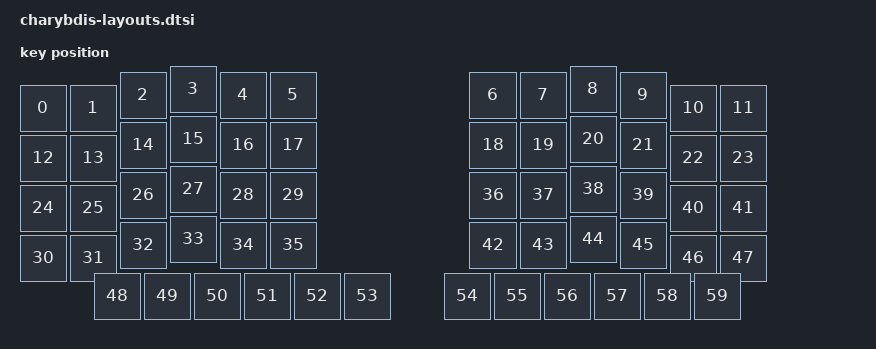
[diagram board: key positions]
#include <physical_layouts.dtsi>

/ {
    charybdis_physical_layout: charybdis_physical_layout {
        compatible = "zmk,physical-layout";
        display-name = "Charybdis 5x6";

        kscan = <&kscan0>;
        transform = <&default_transform>;

        keys
            // Left Half - Main Keys
            //                       w   h    x    y     rot    rx    ry
            = <&key_physical_attrs 100 100    0   38       0     0     0>
            , <&key_physical_attrs 100 100  100   38       0     0     0>
            , <&key_physical_attrs 100 100  200   12       0     0     0>
            , <&key_physical_attrs 100 100  300    0       0     0     0>
            , <&key_physical_attrs 100 100  400   12       0     0     0>
            , <&key_physical_attrs 100 100  500   12       0     0     0>
            , <&key_physical_attrs 100 100  900   12       0     0     0>
            , <&key_physical_attrs 100 100 1000   12       0     0     0>
            , <&key_physical_attrs 100 100 1100    0       0     0     0>
            , <&key_physical_attrs 100 100 1200   12       0     0     0>
            , <&key_physical_attrs 100 100 1300   38       0     0     0>
            , <&key_physical_attrs 100 100 1400   38       0     0     0>
            , <&key_physical_attrs 100 100    0  138       0     0     0>
            , <&key_physical_attrs 100 100  100  138       0     0     0>
            , <&key_physical_attrs 100 100  200  112       0     0     0>
            , <&key_physical_attrs 100 100  300  100       0     0     0>
            , <&key_physical_attrs 100 100  400  112       0     0     0>
            , <&key_physical_attrs 100 100  500  112       0     0     0>
            , <&key_physical_attrs 100 100  900  112       0     0     0>
            , <&key_physical_attrs 100 100 1000  112       0     0     0>
            , <&key_physical_attrs 100 100 1100  100       0     0     0>
            , <&key_physical_attrs 100 100 1200  112       0     0     0>
            , <&key_physical_attrs 100 100 1300  138       0     0     0>
            , <&key_physical_attrs 100 100 1400  138       0     0     0>
            , <&key_physical_attrs 100 100    0  238       0     0     0>
            , <&key_physical_attrs 100 100  100  238       0     0     0>
            , <&key_physical_attrs 100 100  200  212       0     0     0>
            , <&key_physical_attrs 100 100  300  200       0     0     0>
            , <&key_physical_attrs 100 100  400  212       0     0     0>
            , <&key_physical_attrs 100 100  500  212       0     0     0>
            , <&key_physical_attrs 100 100    0  338       0     0     0>
            , <&key_physical_attrs 100 100  100  338       0     0     0>
            , <&key_physical_attrs 100 100  200  312       0     0     0>
            , <&key_physical_attrs 100 100  300  300       0     0     0>
            , <&key_physical_attrs 100 100  400  312       0     0     0>
            , <&key_physical_attrs 100 100  500  312       0     0     0>
            , <&key_physical_attrs 100 100  900  212       0     0     0>
            , <&key_physical_attrs 100 100 1000  212       0     0     0>
            , <&key_physical_attrs 100 100 1100  200       0     0     0>
            , <&key_physical_attrs 100 100 1200  212       0     0     0>
            , <&key_physical_attrs 100 100 1300  238       0     0     0>
            , <&key_physical_attrs 100 100 1400  238       0     0     0>
            , <&key_physical_attrs 100 100  900  312       0     0     0>
            , <&key_physical_attrs 100 100 1000  312       0     0     0>
            , <&key_physical_attrs 100 100 1100  300       0     0     0>
            , <&key_physical_attrs 100 100 1200  312       0     0     0>
            , <&key_physical_attrs 100 100 1300  338       0     0     0>
            , <&key_physical_attrs 100 100 1400  338       0     0     0>

            // Thumb row - all 12 columns for diagnostic
            //                       w   h    x    y     rot    rx    ry
            , <&key_physical_attrs 100 100  148  414       0     0     0>
            , <&key_physical_attrs 100 100  248  414       0     0     0>
            , <&key_physical_attrs 100 100  348  414       0     0     0>
            , <&key_physical_attrs 100 100  448  414       0     0     0>
            , <&key_physical_attrs 100 100  548  414       0     0     0>
            , <&key_physical_attrs 100 100  648  414       0     0     0>
            , <&key_physical_attrs 100 100  848  414       0     0     0>
            , <&key_physical_attrs 100 100  948  414       0     0     0>
            , <&key_physical_attrs 100 100 1048  414       0     0     0>
            , <&key_physical_attrs 100 100 1148  414       0     0     0>
            , <&key_physical_attrs 100 100 1248  414       0     0     0>
            , <&key_physical_attrs 100 100 1348  414       0     0     0>
            ;
    };
};
